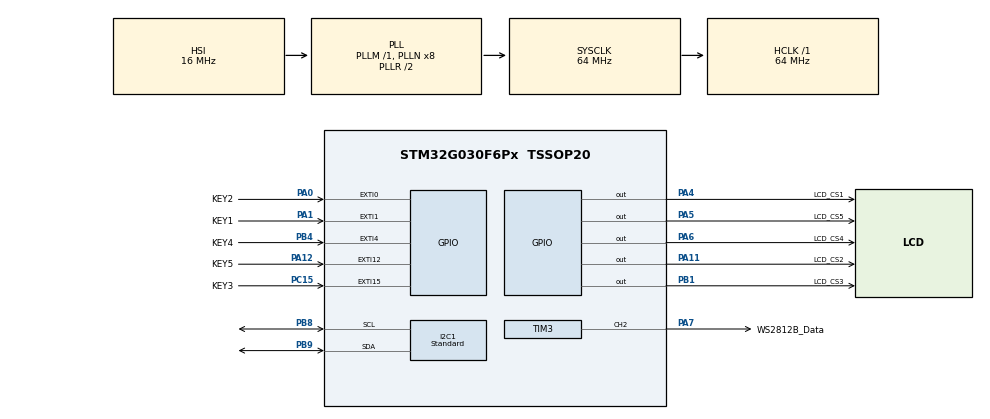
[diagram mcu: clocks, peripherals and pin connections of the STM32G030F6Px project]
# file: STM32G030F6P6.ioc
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Dma.Request0=TIM3_CH2
Dma.TIM3_CH2.0.Direction=DMA_MEMORY_TO_PERIPH
Dma.TIM3_CH2.0.EventEnable=DISABLE
Dma.TIM3_CH2.0.Instance=DMA1_Channel1
Dma.TIM3_CH2.0.MemDataAlignment=DMA_MDATAALIGN_HALFWORD
Dma.TIM3_CH2.0.MemInc=DMA_MINC_ENABLE
Dma.TIM3_CH2.0.Mode=DMA_CIRCULAR
Dma.TIM3_CH2.0.PeriphDataAlignment=DMA_PDATAALIGN_HALFWORD
Dma.TIM3_CH2.0.PeriphInc=DMA_PINC_DISABLE
Dma.TIM3_CH2.0.Polarity=HAL_DMAMUX_REQ_GEN_RISING
Dma.TIM3_CH2.0.Priority=DMA_PRIORITY_VERY_HIGH
Dma.TIM3_CH2.0.RequestNumber=1
Dma.TIM3_CH2.0.SignalID=NONE
Dma.TIM3_CH2.0.SyncEnable=DISABLE
Dma.TIM3_CH2.0.SyncPolarity=HAL_DMAMUX_SYNC_NO_EVENT
Dma.TIM3_CH2.0.SyncRequestNumber=1
Dma.TIM3_CH2.0.SyncSignalID=NONE
I2C1.AddressingMode=I2C_ADDRESSINGMODE_7BIT
I2C1.DualAddressMode=I2C_DUALADDRESS_DISABLE
I2C1.GeneralCallMode=I2C_GENERALCALL_DISABLE
I2C1.I2C_Speed_Mode=I2C_Standard
I2C1.OwnAddress=0x01
I2C1.Timing=0x10B17DB5
Mcu.Family=STM32G0
Mcu.Name=STM32G030F6Px
Mcu.Package=TSSOP20
NVIC.DMA1_Channel1_IRQn=true\:0\:0\:true\:false\:true\:false\:true\:true
NVIC.EXTI0_1_IRQn=true\:0\:0\:true\:false\:true\:true\:true\:true
NVIC.EXTI4_15_IRQn=true\:0\:0\:true\:false\:true\:true\:true\:true
NVIC.I2C1_IRQn=true\:0\:0\:true\:false\:true\:true\:true\:true
NVIC.TIM14_IRQn=true\:3\:0\:true\:false\:true\:true\:true\:true
PA0.GPIO_Label=KEY2
PA0.GPIO_ModeDefaultEXTI=GPIO_MODE_IT_RISING_FALLING
PA0.GPIO_PuPd=GPIO_PULLUP
PA0.Signal=GPXTI0
PA1.GPIO_Label=KEY1
PA1.GPIO_ModeDefaultEXTI=GPIO_MODE_IT_RISING_FALLING
PA1.GPIO_PuPd=GPIO_PULLUP
PA1.Signal=GPXTI1
PA11\ [PA9].GPIO_Label=LCD_CS2
PA11\ [PA9].GPIO_PuPd=GPIO_PULLUP
PA11\ [PA9].GPIO_Speed=GPIO_SPEED_FREQ_VERY_HIGH
PA11\ [PA9].PinState=GPIO_PIN_SET
PA11\ [PA9].Signal=GPIO_Output
PA12\ [PA10].GPIO_Label=KEY5
PA12\ [PA10].GPIO_ModeDefaultEXTI=GPIO_MODE_IT_RISING_FALLING
PA12\ [PA10].GPIO_PuPd=GPIO_PULLUP
PA12\ [PA10].Signal=GPXTI12
PA13.Mode=Serial_Wire
PA13.Signal=SYS_SWDIO
PA14-BOOT0.Mode=Serial_Wire
PA14-BOOT0.Signal=SYS_SWCLK
PA14-BOOT0__PA15.StandardMode=true
PA4.GPIO_Label=LCD_CS1
PA4.GPIO_PuPd=GPIO_PULLUP
PA4.GPIO_Speed=GPIO_SPEED_FREQ_VERY_HIGH
PA4.PinState=GPIO_PIN_SET
PA4.Signal=GPIO_Output
PA5.GPIO_Label=LCD_CS5
PA5.GPIO_PuPd=GPIO_PULLUP
PA5.GPIO_Speed=GPIO_SPEED_FREQ_VERY_HIGH
PA5.PinState=GPIO_PIN_SET
PA5.Signal=GPIO_Output
PA6.GPIO_Label=LCD_CS4
PA6.GPIO_PuPd=GPIO_PULLUP
PA6.GPIO_Speed=GPIO_SPEED_FREQ_VERY_HIGH
PA6.PinState=GPIO_PIN_SET
PA6.Signal=GPIO_Output
PA7.GPIO_Label=WS2812B_Data
PA7.GPIO_PuPd=GPIO_PULLDOWN
PA7.GPIO_Speed=GPIO_SPEED_FREQ_VERY_HIGH
PA7.Signal=S_TIM3_CH2
PB0__PB1__PB2__PA8.StandardMode=true
PB1.GPIO_Label=LCD_CS3
PB1.GPIO_PuPd=GPIO_PULLUP
PB1.GPIO_Speed=GPIO_SPEED_FREQ_VERY_HIGH
PB1.PinState=GPIO_PIN_SET
PB1.Signal=GPIO_Output
PB3__PB4__PB5__PB6.StandardMode=true
PB4.GPIO_Label=KEY4
PB4.GPIO_ModeDefaultEXTI=GPIO_MODE_IT_RISING_FALLING
PB4.GPIO_PuPd=GPIO_PULLUP
PB4.Signal=GPXTI4
PB7__PB8.StandardMode=true
PB8.GPIO_Speed=GPIO_SPEED_FREQ_VERY_HIGH
PB8.Mode=I2C
PB8.Signal=I2C1_SCL
PB9.GPIO_Speed=GPIO_SPEED_FREQ_VERY_HIGH
PB9.Mode=I2C
PB9.Signal=I2C1_SDA
PC14-OSC32_IN\ (PC14)__PB9.StandardMode=true
PC15-OSC32_OUT\ (PC15).GPIO_Label=KEY3
PC15-OSC32_OUT\ (PC15).GPIO_ModeDefaultEXTI=GPIO_MODE_IT_RISING_FALLING
PC15-OSC32_OUT\ (PC15).GPIO_PuPd=GPIO_PULLUP
PC15-OSC32_OUT\ (PC15).Signal=GPXTI15
ProjectManager.HeapSize=0x200
ProjectManager.StackSize=0x400
ProjectManager.TargetToolchain=MDK-ARM V5.32
RCC.ADCFreq_Value=64000000
RCC.AHBFreq_Value=64000000
RCC.CortexFreq_Value=64000000
RCC.EXTERNAL_CLOCK_VALUE=12288000
RCC.HCLKFreq_Value=64000000
RCC.HSE_VALUE=8000000
RCC.HSI_VALUE=16000000
RCC.LSE_VALUE=32768
RCC.SYSCLKFreq_VALUE=64000000
RCC.SYSCLKSource=RCC_SYSCLKSOURCE_PLLCLK
RCC.VCOOutputFreq_Value=128000000
SH.S_TIM3_CH2.0=TIM3_CH2,PWM Generation2 CH2
TIM14.Period=999
TIM14.Prescaler=63
TIM3.Channel-PWM\ Generation2\ CH2=TIM_CHANNEL_2
TIM3.OCFastMode_PWM-PWM\ Generation2\ CH2=TIM_OCFAST_ENABLE
TIM3.Period=80-1
TIM3.Prescaler=0
TIM3.Pulse-PWM\ Generation2\ CH2=0
VP_TIM14_VS_ClockSourceINT.Mode=Enable_Timer
VP_TIM3_VS_ClockSourceINT.Mode=Internal
board=custom

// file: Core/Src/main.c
/* USER CODE BEGIN Header */
/**
 ******************************************************************************
 * @file           : main.c
 * @brief          : Main program body
 ******************************************************************************
 * @attention
 *
 * Copyright (c) 2023 STMicroelectronics.
 * All rights reserved.
 *
 * This software is licensed under terms that can be found in the LICENSE file
 * in the root directory of this software component.
 * If no LICENSE file comes with this software, it is provided AS-IS.
 *
 ******************************************************************************
 */
/* USER CODE END Header */
#include "main.h"
#include "dma.h"
#include "i2c.h"
#include "tim.h"
#include "gpio.h"

/* USER CODE BEGIN Includes */
#include <string.h>
#include "stm32g0xx_it.h"
#include "WS2812B_PWM_DMA.h"
#include "T-Keyboard-S3-Pro_Drive.h"

/* USER CODE END Includes */

/* USER CODE BEGIN PD */
#define NUM_LEDS 14 // Led总个数
/* USER CODE END PD */

/* USER CODE BEGIN PV */
static uint8_t KEY_WS2812B_Loop_Mode = 0;
static uint8_t KEY_WS2812B_Brightness = 10;
static uint16_t KEY_WS2812B_Hue = 360;
static uint8_t KEY_WS2812B_Saturation = 0;

struct T_Keyboard_S3_Pro My_Device;
/* USER CODE END PV */

void SystemClock_Config(void);

/* USER CODE BEGIN 0 */

void Flash_OB_Handle(void)
{
    FLASH_OBProgramInitTypeDef optionsbytesstruct;
    uint8_t UPDATE = 0;

    HAL_FLASHEx_OBGetConfig(&optionsbytesstruct);
    uint32_t userconfig = optionsbytesstruct.USERConfig;

    if ((userconfig & FLASH_OPTR_nBOOT_SEL_Msk) != OB_BOOT0_FROM_PIN)
    {
        userconfig &= ~FLASH_OPTR_nBOOT_SEL_Msk;
        userconfig |= OB_BOOT0_FROM_PIN;
        UPDATE = 1;
    }

    if (UPDATE)
    {
        optionsbytesstruct.USERConfig = userconfig;
        HAL_FLASH_Unlock();
        HAL_FLASH_OB_Unlock();
        HAL_FLASHEx_OBProgram(&optionsbytesstruct);
        HAL_FLASH_OB_Launch();
        HAL_FLASH_OB_Lock();
        HAL_FLASH_Lock();
    }
}

uint8_t KEY_WS2812B_Loop(void)
{
    if (My_Device.KEY_Trigger_Flag == 1)
    {
        My_Device.KEY_Trigger_Flag = 0;
        WS2812B_ClearAll();

        if ((My_Device.KEY_Trigger_Number & B00010000) != 0)
        {
            WS2812B_SetHSV(KEY_WS2812B_Hue, KEY_WS2812B_Saturation, KEY_WS2812B_Brightness, 0);
            WS2812B_SetHSV(KEY_WS2812B_Hue, KEY_WS2812B_Saturation, KEY_WS2812B_Brightness, 1);
        }
        if ((My_Device.KEY_Trigger_Number & B00001000) != 0)
        {
            WS2812B_SetHSV(KEY_WS2812B_Hue, KEY_WS2812B_Saturation, KEY_WS2812B_Brightness, 3);
            WS2812B_SetHSV(KEY_WS2812B_Hue, KEY_WS2812B_Saturation, KEY_WS2812B_Brightness, 4);
        }
        if ((My_Device.KEY_Trigger_Number & B00000100) != 0)
        {
            WS2812B_SetHSV(KEY_WS2812B_Hue, KEY_WS2812B_Saturation, KEY_WS2812B_Brightness, 6);
            WS2812B_SetHSV(KEY_WS2812B_Hue, KEY_WS2812B_Saturation, KEY_WS2812B_Brightness, 7);
        }
        if ((My_Device.KEY_Trigger_Number & B00000010) != 0)
        {
            WS2812B_SetHSV(KEY_WS2812B_Hue, KEY_WS2812B_Saturation, KEY_WS2812B_Brightness, 9);
            WS2812B_SetHSV(KEY_WS2812B_Hue, KEY_WS2812B_Saturation, KEY_WS2812B_Brightness, 10);
        }
        if ((My_Device.KEY_Trigger_Number & B00000001) != 0)
        {
            WS2812B_SetHSV(KEY_WS2812B_Hue, KEY_WS2812B_Saturation, KEY_WS2812B_Brightness, 12);
            WS2812B_SetHSV(KEY_WS2812B_Hue, KEY_WS2812B_Saturation, KEY_WS2812B_Brightness, 13);
        }

        WS2812B_Show();
        return 1;
    }
    return 0;
}

void KEY_WS2812B_Mode_1(void)
{
    static uint8_t key_ws2812b_set_color = 0;

    switch (key_ws2812b_set_color)
    {
    case 0:
        WS2812B_SetSequentialHSV(0, 100, KEY_WS2812B_Brightness, NUM_LEDS);
        break;
    case 1:
        WS2812B_SetSequentialHSV(120, 100, KEY_WS2812B_Brightness, NUM_LEDS);
        break;
    case 2:
        WS2812B_SetSequentialHSV(240, 100, KEY_WS2812B_Brightness, NUM_LEDS);
        break;

    default:
        break;
    }

    key_ws2812b_set_color++;
    if (key_ws2812b_set_color > 2)
    {
        key_ws2812b_set_color = 0;
    }
}

void KEY_WS2812B_Mode_2(void)
{
    // WS2812B_Shift1(Shift_Left, 1);
    WS2812B_Shift2(Shift_Right, 1);
    WS2812B_Show();
}

/* USER CODE END 0 */

int main(void)
{

    /* MCU Configuration--------------------------------------------------------*/

    /* Reset of all peripherals, Initializes the Flash interface and the Systick. */
    HAL_Init();

    /* Configure the system clock */
    SystemClock_Config();

    /* Initialize all configured peripherals */
    MX_GPIO_Init();
    MX_DMA_Init();
    MX_TIM3_Init();
    MX_I2C1_Init();
    MX_TIM14_Init();
    /* USER CODE BEGIN 2 */
    Flash_OB_Handle();

    HAL_TIM_Base_Start_IT(&htim14);  // 初始化定时器中断
    HAL_I2C_EnableListen_IT(&hi2c1); // 使能I2C1的侦听中断

    WS2812B_ClearAll();
    WS2812B_Show();
    /* USER CODE END 2 */

    /* Infinite loop */
    /* USER CODE BEGIN WHILE */
    while (1)
    {
        // WS2812B_Test1();
        // WS2812B_Test2(Red, Green, Blue, 60);
        // WS2812B_Test3();
        // WS2812B_Test4();
        // WS2812B_Test5();
        // WS2812B_Test6();
        // WS2812B_Test7(15);
        // WS2812B_Test8();
        // WS2812B_Test9();

        if (TIM14_Timed_10ms_Flag == 1)
        {
            TIM14_Timed_10ms_Flag = 0;
            if (KEY_WS2812B_Loop_Mode == 0)
            {
                KEY_WS2812B_Loop();
            }
        }

        switch (KEY_WS2812B_Loop_Mode)
        {
        case 2:
            if (TIM14_Timed_1000ms_Flag == 1)
            {
                TIM14_Timed_1000ms_Flag = 0;
                KEY_WS2812B_Mode_1();
            }
            break;
        case 3:
            if (TIM14_Timed_50ms_Flag == 1)
            {
                TIM14_Timed_50ms_Flag = 0;
                KEY_WS2812B_Mode_2();
            }
            break;

        default:

            break;
        }

        if (IIC_Slave_Receive_Struct.Number != 0)
        {
            switch (IIC_Slave_Receive_Struct.Command[0])
            {
            case 0x01:
                if ((IIC_Slave_Receive_Struct.Data[0] & B00010000) != 0) // LCD_CS1
                {
                    HAL_GPIO_WritePin(LCD_CS1_GPIO_Port, LCD_CS1_Pin, GPIO_PIN_RESET);
                }
                else
                {
                    HAL_GPIO_WritePin(LCD_CS1_GPIO_Port, LCD_CS1_Pin, GPIO_PIN_SET);
                }

                if ((IIC_Slave_Receive_Struct.Data[0] & B00001000) != 0) // LCD_CS2
                {
                    HAL_GPIO_WritePin(LCD_CS2_GPIO_Port, LCD_CS2_Pin, GPIO_PIN_RESET);
                }
                else
                {
                    HAL_GPIO_WritePin(LCD_CS2_GPIO_Port, LCD_CS2_Pin, GPIO_PIN_SET);
                }

                if ((IIC_Slave_Receive_Struct.Data[0] & B00000100) != 0) // LCD_CS3
                {
                    HAL_GPIO_WritePin(LCD_CS3_GPIO_Port, LCD_CS3_Pin, GPIO_PIN_RESET);
                }
                else
                {
                    HAL_GPIO_WritePin(LCD_CS3_GPIO_Port, LCD_CS3_Pin, GPIO_PIN_SET);
                }

                if ((IIC_Slave_Receive_Struct.Data[0] & B00000010) != 0) // LCD_CS4
                {
                    HAL_GPIO_WritePin(LCD_CS4_GPIO_Port, LCD_CS4_Pin, GPIO_PIN_RESET);
                }
                else
                {
                    HAL_GPIO_WritePin(LCD_CS4_GPIO_Port, LCD_CS4_Pin, GPIO_PIN_SET);
                }

                if ((IIC_Slave_Receive_Struct.Data[0] & B00000001) != 0) // LCD_CS5
                {
                    HAL_GPIO_WritePin(LCD_CS5_GPIO_Port, LCD_CS5_Pin, GPIO_PIN_RESET);
                }
                else
                {
                    HAL_GPIO_WritePin(LCD_CS5_GPIO_Port, LCD_CS5_Pin, GPIO_PIN_SET);
                }
                break;
            case 0x03:
                switch (IIC_Slave_Receive_Struct.Data[0])
                {
                case B00000001:
                    WS2812B_ClearAll();
                    KEY_WS2812B_Loop_Mode = 0;
                    break;
                case B00000010:
                    WS2812B_ClearAll();
                    KEY_WS2812B_Loop_Mode = 1;
                    break;
                case B00000011:
                    WS2812B_ClearAll();
                    KEY_WS2812B_Loop_Mode = 2;
                    break;
                case B00000100:
                    WS2812B_ClearAll();
                    for (uint8_t i = 0; i < NUM_LEDS; i++)
                    {
                        WS2812B_SetHSV(i * (360.0 / NUM_LEDS), 100, KEY_WS2812B_Brightness, i);
                        WS2812B_Show();
                    }
                    KEY_WS2812B_Loop_Mode = 3;
                    break;
                default:
                    break;
                }
                break;
            case 0x04:
                if (IIC_Slave_Receive_Struct.Data[0] <= 100)
                {
                    KEY_WS2812B_Brightness = IIC_Slave_Receive_Struct.Data[0];
                }
                break;
            case 0x05:
                if (IIC_Slave_Receive_Struct.Data[0] <= 1)
                {
                    KEY_WS2812B_Hue &= 0xFEFF;
                    KEY_WS2812B_Hue = (((uint16_t)(IIC_Slave_Receive_Struct.Data[0] & B00000001)) << 8) | KEY_WS2812B_Hue;
                }
                break;
            case 0x06:
                    KEY_WS2812B_Hue &= 0xFF00;
                    KEY_WS2812B_Hue = ((uint16_t)IIC_Slave_Receive_Struct.Data[0]) | KEY_WS2812B_Hue;
                break;
            case 0x07:9
                if (IIC_Slave_Receive_Struct.Data[0] <= 100)
                {
                    KEY_WS2812B_Saturation = IIC_Slave_Receive_Struct.Data[0];
                }
                break;
            case 0x08:
                if ((IIC_Slave_Receive_Struct.Data[0] & B10000000) != 0)
                {
                    WS2812B_ClearAll();
                }
                if ((IIC_Slave_Receive_Struct.Data[0] & B01000000) != 0)
                {
                    WS2812B_Show();
                }
                if ((IIC_Slave_Receive_Struct.Data[0] & B00100000) != 0)
                {
                    WS2812B_SetHSV(KEY_WS2812B_Hue, KEY_WS2812B_Saturation, KEY_WS2812B_Brightness, 0);
                }
                if ((IIC_Slave_Receive_Struct.Data[0] & B00010000) != 0)
                {
                    WS2812B_SetHSV(KEY_WS2812B_Hue, KEY_WS2812B_Saturation, KEY_WS2812B_Brightness, 1);
                }
                if ((IIC_Slave_Receive_Struct.Data[0] & B00001000) != 0)
                {
                    WS2812B_SetHSV(KEY_WS2812B_Hue, KEY_WS2812B_Saturation, KEY_WS2812B_Brightness, 2);
                }
                if ((IIC_Slave_Receive_Struct.Data[0] & B00000100) != 0)
                {
                    WS2812B_SetHSV(KEY_WS2812B_Hue, KEY_WS2812B_Saturation, KEY_WS2812B_Brightness, 3);
                }
                if ((IIC_Slave_Receive_Struct.Data[0] & B00000010) != 0)
                {
                    WS2812B_SetHSV(KEY_WS2812B_Hue, KEY_WS2812B_Saturation, KEY_WS2812B_Brightness, 4);
                }
                if ((IIC_Slave_Receive_Struct.Data[0] & B00000001) != 0)
                {
                    WS2812B_SetHSV(KEY_WS2812B_Hue, KEY_WS2812B_Saturation, KEY_WS2812B_Brightness, 5);
                }
                break;
            case 0x09:
                if ((IIC_Slave_Receive_Struct.Data[0] & B10000000) != 0)
                {
                    WS2812B_SetHSV(KEY_WS2812B_Hue, KEY_WS2812B_Saturation, KEY_WS2812B_Brightness, 6);
                }
                if ((IIC_Slave_Receive_Struct.Data[0] & B01000000) != 0)
                {
                    WS2812B_SetHSV(KEY_WS2812B_Hue, KEY_WS2812B_Saturation, KEY_WS2812B_Brightness, 7);
                }
                if ((IIC_Slave_Receive_Struct.Data[0] & B00100000) != 0)
                {
                    WS2812B_SetHSV(KEY_WS2812B_Hue, KEY_WS2812B_Saturation, KEY_WS2812B_Brightness, 8);
                }
                if ((IIC_Slave_Receive_Struct.Data[0] & B00010000) != 0)
                {
                    WS2812B_SetHSV(KEY_WS2812B_Hue, KEY_WS2812B_Saturation, KEY_WS2812B_Brightness, 9);
                }
                if ((IIC_Slave_Receive_Struct.Data[0] & B00001000) != 0)
                {
                    WS2812B_SetHSV(KEY_WS2812B_Hue, KEY_WS2812B_Saturation, KEY_WS2812B_Brightness, 10);
                }
                if ((IIC_Slave_Receive_Struct.Data[0] & B00000100) != 0)
                {
                    WS2812B_SetHSV(KEY_WS2812B_Hue, KEY_WS2812B_Saturation, KEY_WS2812B_Brightness, 11);
                }
                if ((IIC_Slave_Receive_Struct.Data[0] & B00000010) != 0)
                {
                    WS2812B_SetHSV(KEY_WS2812B_Hue, KEY_WS2812B_Saturation, KEY_WS2812B_Brightness, 12);
                }
                if ((IIC_Slave_Receive_Struct.Data[0] & B00000001) != 0)
                {
                    WS2812B_SetHSV(KEY_WS2812B_Hue, KEY_WS2812B_Saturation, KEY_WS2812B_Brightness, 13);
                }
                break;
            default:
                break;
            }
            IIC_Slave_Receive_Struct.Number--;
            memmove(&IIC_Slave_Receive_Struct.Command[0],
                    &IIC_Slave_Receive_Struct.Command[1], IIC_Slave_Receive_Struct.Number);
            memmove(&IIC_Slave_Receive_Struct.Data[0],
                    &IIC_Slave_Receive_Struct.Data[1], IIC_Slave_Receive_Struct.Number);
        }
    }
    // HAL_Delay(100);
    /* USER CODE END WHILE */

}

void SystemClock_Config(void)
{
    RCC_OscInitTypeDef RCC_OscInitStruct = {0};
    RCC_ClkInitTypeDef RCC_ClkInitStruct = {0};

    /** Configure the main internal regulator output voltage
     */
    HAL_PWREx_ControlVoltageScaling(PWR_REGULATOR_VOLTAGE_SCALE1);

    /** Initializes the RCC Oscillators according to the specified parameters
     * in the RCC_OscInitTypeDef structure.
     */
    RCC_OscInitStruct.OscillatorType = RCC_OSCILLATORTYPE_HSI;
    RCC_OscInitStruct.HSIState = RCC_HSI_ON;
    RCC_OscInitStruct.HSIDiv = RCC_HSI_DIV1;
    RCC_OscInitStruct.HSICalibrationValue = RCC_HSICALIBRATION_DEFAULT;
    RCC_OscInitStruct.PLL.PLLState = RCC_PLL_ON;
    RCC_OscInitStruct.PLL.PLLSource = RCC_PLLSOURCE_HSI;
    RCC_OscInitStruct.PLL.PLLM = RCC_PLLM_DIV1;
    RCC_OscInitStruct.PLL.PLLN = 8;
    RCC_OscInitStruct.PLL.PLLP = RCC_PLLP_DIV2;
    RCC_OscInitStruct.PLL.PLLR = RCC_PLLR_DIV2;
    if (HAL_RCC_OscConfig(&RCC_OscInitStruct) != HAL_OK)
    {
        Error_Handler();
    }

    /** Initializes the CPU, AHB and APB buses clocks
     */
    RCC_ClkInitStruct.ClockType = RCC_CLOCKTYPE_HCLK | RCC_CLOCKTYPE_SYSCLK | RCC_CLOCKTYPE_PCLK1;
    RCC_ClkInitStruct.SYSCLKSource = RCC_SYSCLKSOURCE_PLLCLK;
    RCC_ClkInitStruct.AHBCLKDivider = RCC_SYSCLK_DIV1;
    RCC_ClkInitStruct.APB1CLKDivider = RCC_HCLK_DIV1;

    if (HAL_RCC_ClockConfig(&RCC_ClkInitStruct, FLASH_LATENCY_2) != HAL_OK)
    {
        Error_Handler();
    }
}

void Error_Handler(void)
{
    __disable_irq();
    while (1)
    {
    }
}
